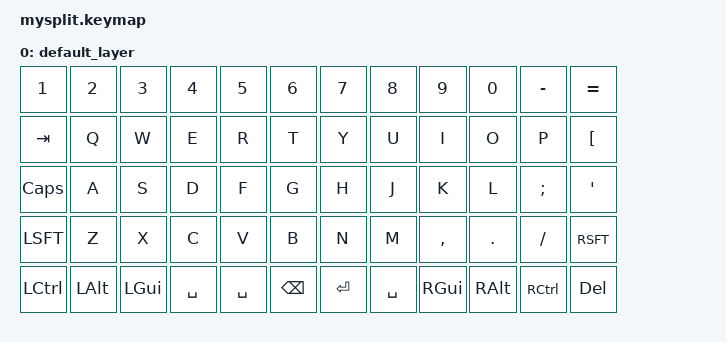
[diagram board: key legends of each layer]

#include <behaviors.dtsi>
#include <dt-bindings/zmk/keys.h>
#include <dt-bindings/zmk/bt.h>

/ {
    keymap {
        compatible = "zmk,keymap";

        default_layer {
            bindings = <
                &kp N1    &kp N2    &kp N3    &kp N4    &kp N5    &kp N6       &kp N7    &kp N8    &kp N9    &kp N0    &kp MINUS &kp EQUAL
                &kp TAB   &kp Q     &kp W     &kp E     &kp R     &kp T        &kp Y     &kp U     &kp I     &kp O     &kp P     &kp LBKT
                &kp CAPS  &kp A     &kp S     &kp D     &kp F     &kp G        &kp H     &kp J     &kp K     &kp L     &kp SEMI  &kp QUOT
                &kp LSFT  &kp Z     &kp X     &kp C     &kp V     &kp B        &kp N     &kp M     &kp COMMA &kp DOT   &kp SLASH &kp RSFT
                &kp LCTL  &kp LALT  &kp LGUI  &kp SPC   &kp SPC   &kp BSPC     &kp RET   &kp SPC   &kp RGUI  &kp RALT  &kp RCTL  &kp DEL
            >;
        };
    };
};
